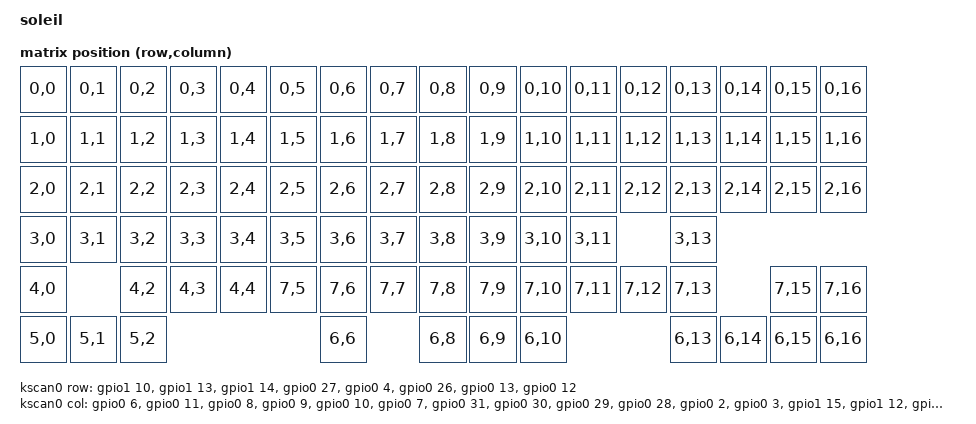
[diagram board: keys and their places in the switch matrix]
/*
 * Copyright (c) 2020 The ZMK Contributors
 *
 * SPDX-License-Identifier: MIT
 */

/dts-v1/;
#include <nordic/nrf52840_qiaa.dtsi>
#include <dt-bindings/zmk/matrix_transform.h>

#include <zephyr/dt-bindings/gpio/nordic-nrf-gpio.h>


/ {
	model = "soleil";
	compatible = "soleil";

	chosen {
		zephyr,code-partition = &code_partition;
		zephyr,sram = &sram0;
		zephyr,flash = &flash0;
		zmk,kscan = &kscan0;
		zmk,matrix_transform = &default_transform;
		zmk,battery = &vbatt;
		/* zephyr,console = &cdc_acm_uart; */
	};

	default_transform: keymap_transform_0 {
		compatible = "zmk,matrix-transform";
		columns = <17>;
		rows = <8>;
		map = <
			RC(0, 0) RC(0, 1) RC(0, 2) RC(0, 3) RC(0, 4) RC(0, 5) RC(0, 6) RC(0, 7) RC(0, 8) RC(0, 9) RC(0,10) RC(0,11) RC(0,12) RC(0,13) RC(0,14) RC(0,15) RC(0,16)
			RC(1, 0) RC(1, 1) RC(1, 2) RC(1, 3) RC(1, 4) RC(1, 5) RC(1, 6) RC(1, 7) RC(1, 8) RC(1, 9) RC(1,10) RC(1,11) RC(1,12) RC(1,13) RC(1,14) RC(1,15) RC(1,16)
			RC(2, 0) RC(2, 1) RC(2, 2) RC(2, 3) RC(2, 4) RC(2, 5) RC(2, 6) RC(2, 7) RC(2, 8) RC(2, 9) RC(2,10) RC(2,11) RC(2,12) RC(2,13) RC(2,14) RC(2,15) RC(2,16)
			RC(3, 0) RC(3, 1) RC(3, 2) RC(3, 3) RC(3, 4) RC(3, 5) RC(3, 6) RC(3, 7) RC(3, 8) RC(3, 9) RC(3,10) RC(3,11)          RC(3,13)
			RC(4, 0)          RC(4, 2) RC(4, 3) RC(4, 4) RC(7, 5) RC(7, 6) RC(7, 7) RC(7, 8) RC(7, 9) RC(7,10) RC(7,11) RC(7,12) RC(7,13)          RC(7,15) RC(7,16)
			RC(5, 0) RC(5, 1) RC(5, 2)                            RC(6, 6)          RC(6, 8) RC(6, 9) RC(6,10)                   RC(6,13) RC(6,14) RC(6,15) RC(6,16)
			>;
	};
 
	kscan0: kscan {
		compatible = "zmk,kscan-gpio-matrix";
		//label = "KSCAN";
		diode-direction = "col2row";
		row-gpios
			= <&gpio1 10 (GPIO_ACTIVE_HIGH | GPIO_PULL_DOWN)> // R0
			, <&gpio1 13 (GPIO_ACTIVE_HIGH | GPIO_PULL_DOWN)> // R1
			, <&gpio1 14 (GPIO_ACTIVE_HIGH | GPIO_PULL_DOWN)> // R2
			, <&gpio0 27 (GPIO_ACTIVE_HIGH | GPIO_PULL_DOWN)> // R3
			, <&gpio0  4 (GPIO_ACTIVE_HIGH | GPIO_PULL_DOWN)> // R4
			, <&gpio0 26 (GPIO_ACTIVE_HIGH | GPIO_PULL_DOWN)> // R5
			, <&gpio0 13 (GPIO_ACTIVE_HIGH | GPIO_PULL_DOWN)> // R6
			, <&gpio0 12 (GPIO_ACTIVE_HIGH | GPIO_PULL_DOWN)> // R7
			;
		col-gpios
			= <&gpio0  6 GPIO_ACTIVE_HIGH> // C0
			, <&gpio0 11 GPIO_ACTIVE_HIGH> // C1
			, <&gpio0  8 GPIO_ACTIVE_HIGH> // C2
			, <&gpio0  9 GPIO_ACTIVE_HIGH> // C3
			, <&gpio0 10 GPIO_ACTIVE_HIGH> // C4
			, <&gpio0  7 GPIO_ACTIVE_HIGH> // C5
			, <&gpio0 31 GPIO_ACTIVE_HIGH> // C6
			, <&gpio0 30 GPIO_ACTIVE_HIGH> // C7
			, <&gpio0 29 GPIO_ACTIVE_HIGH> // C8
			, <&gpio0 28 GPIO_ACTIVE_HIGH> // C9
			, <&gpio0  2 GPIO_ACTIVE_HIGH> // C10
			, <&gpio0  3 GPIO_ACTIVE_HIGH> // C11
			, <&gpio1 15 GPIO_ACTIVE_HIGH> // C12
			, <&gpio1 12 GPIO_ACTIVE_HIGH> // C13
			, <&gpio1 11 GPIO_ACTIVE_HIGH> // C14
			, <&gpio1  8 GPIO_ACTIVE_HIGH> // C15
			, <&gpio1  9 GPIO_ACTIVE_HIGH> // C16
			;
	};

     vbatt: vbatt {
         compatible = "zmk,battery-voltage-divider";
         io-channels = <&adc 3>;
         output-ohms = <2000000>;
         full-ohms = <(2000000 + 806000)>;
     };

    leds {
		compatible = "gpio-leds";
		red_red: led_0 {
			gpios = <&gpio1 3 (GPIO_ACTIVE_LOW | GPIO_OPEN_DRAIN)>;
		};
		green_led: led_1 {
			gpios = <&gpio1 5 (GPIO_ACTIVE_LOW | GPIO_OPEN_DRAIN)>;
		};
		blue_led: led_2 {
			gpios = <&gpio1 1 (GPIO_ACTIVE_LOW | GPIO_OPEN_DRAIN)>;
		};
	};
};

&adc {
    status = "okay";
};

&gpiote {
    status = "okay";
};

&gpio0 {
	status = "okay";
};

&gpio1 {
	status = "okay";
};

&usbd {
    status = "okay";
};

// ADAFRUIT BOOTLOADER
//&flash0 {
//	/*
//	 * For more information, see:
//	 * http://docs.zephyrproject.org/latest/devices/dts/flash_partitions.html
//	 */
//	partitions {
//		compatible = "fixed-partitions";
//		#address-cells = <1>;
//		#size-cells = <1>;
//
//		sd_partition: partition@0 {
//			label = "softdevice";
//			reg = <0x00000000 0x00026000>;
//		};
//		code_partition: partition@26000 {
//			label = "code_partition";
//			reg = <0x00026000 0x000c6000>;
//		};
//
//		/*
//		 * The flash starting at 0x000ec000 and ending at
//		 * 0x000f3fff is reserved for use by the application.
//		 */
//
//		/*
//		 * Storage partition will be used by FCB/LittleFS/NVS
//		 * if enabled.
//		 */
//		storage_partition: partition@ec000 {
//			label = "storage";
//			reg = <0x000ec000 0x00008000>;
//		};
//
//		boot_partition: partition@f4000 {
//			label = "adafruit_boot";
//			reg = <0x000f4000 0x0000c000>;
//		};
//	};
//};

// CK BOOTLOADER
&flash0 {
    /*
     * For more information, see:
     * http://docs.zephyrproject.org/latest/devices/dts/flash_partitions.html
     */
    partitions {
        compatible = "fixed-partitions";
        #address-cells = <1>;
        #size-cells = <1>;

        sd_partition: partition@0 {
            label = "mbr";
            reg = <0x00000000 0x00001000>;
        };

        code_partition: partition@1000 {
            label = "code_partition";
            reg = <0x00001000 0x000d3000>;
        };

        /*
         * The flash starting at 0x000d4000 and ending at
         * 0x000f3fff is reserved for use by the application.
         */

        /*
         * Storage partition will be used by FCB/LittleFS/NVS
         * if enabled.
         */
        storage_partition: partition@d4000 {
            label = "storage";
            reg = <0x000d4000 0x00020000>;
        };

        boot_partition: partition@f4000 {
            label = "ck_boot";
            reg = <0x000f4000 0x0000c000>;
        };
    };
};
